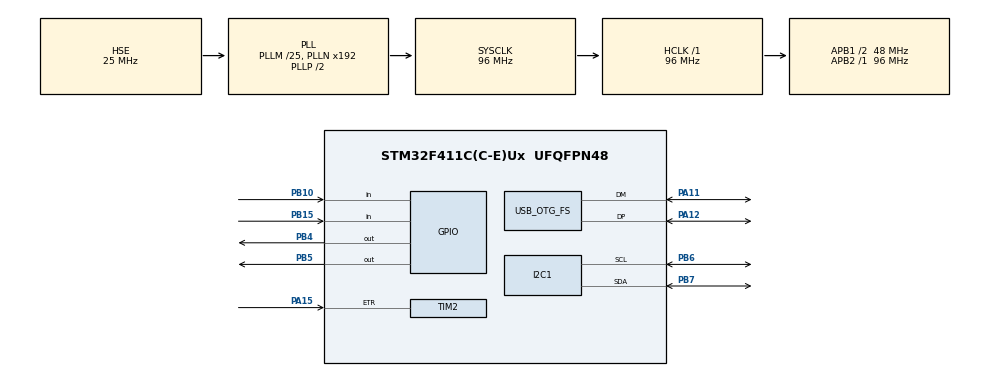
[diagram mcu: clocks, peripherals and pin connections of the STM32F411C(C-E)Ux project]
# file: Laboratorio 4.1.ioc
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I2C1.I2C_Mode=I2C_Fast
Mcu.Family=STM32F4
Mcu.Name=STM32F411C(C-E)Ux
Mcu.Package=UFQFPN48
NVIC.OTG_FS_IRQn=true\:0\:0\:false\:false\:true\:true\:true\:true
NVIC.PriorityGroup=NVIC_PRIORITYGROUP_4
PA11.Mode=Device_Only
PA11.Signal=USB_OTG_FS_DM
PA12.Mode=Device_Only
PA12.Signal=USB_OTG_FS_DP
PA13.Mode=Serial_Wire
PA13.Signal=SYS_JTMS-SWDIO
PA14.Mode=Serial_Wire
PA14.Signal=SYS_JTCK-SWCLK
PA15.Signal=S_TIM2_CH1_ETR
PB10.Signal=GPIO_Input
PB15.Signal=GPIO_Input
PB4.PinState=GPIO_PIN_SET
PB4.Signal=GPIO_Output
PB5.PinState=GPIO_PIN_SET
PB5.Signal=GPIO_Output
PB6.Mode=I2C
PB6.Signal=I2C1_SCL
PB7.Mode=I2C
PB7.Signal=I2C1_SDA
PH0\ -\ OSC_IN.Mode=HSE-External-Oscillator
PH0\ -\ OSC_IN.Signal=RCC_OSC_IN
PH1\ -\ OSC_OUT.Mode=HSE-External-Oscillator
PH1\ -\ OSC_OUT.Signal=RCC_OSC_OUT
ProjectManager.HeapSize=0x200
ProjectManager.StackSize=0x400
ProjectManager.TargetToolchain=STM32CubeIDE
RCC.48MHZClocksFreq_Value=48000000
RCC.AHBFreq_Value=96000000
RCC.APB1CLKDivider=RCC_HCLK_DIV2
RCC.APB1Freq_Value=48000000
RCC.APB1TimFreq_Value=96000000
RCC.APB2Freq_Value=96000000
RCC.APB2TimFreq_Value=96000000
RCC.CortexFreq_Value=96000000
RCC.HCLKFreq_Value=96000000
RCC.HSE_VALUE=25000000
RCC.HSI_VALUE=16000000
RCC.LSE_VALUE=32768
RCC.PLLM=25
RCC.SYSCLKFreq_VALUE=96000000
RCC.SYSCLKSource=RCC_SYSCLKSOURCE_PLLCLK
RCC.VCOOutputFreq_Value=192000000
SH.S_TIM2_CH1_ETR.0=TIM2_ETR,ClockSourceETR_Mode2
TIM2.ClockFilter=10
TIM3.Prescaler=48000-1
TIM5.Prescaler=4800-1
USB_DEVICE.CLASS_NAME_FS=CDC
USB_DEVICE.VirtualMode=Cdc
USB_DEVICE.VirtualModeFS=Cdc_FS
USB_OTG_FS.VirtualMode=Device_Only
VP_TIM3_VS_ClockSourceINT.Mode=Internal
VP_TIM5_VS_ClockSourceINT.Mode=Internal
VP_USB_DEVICE_VS_USB_DEVICE_CDC_FS.Mode=CDC_FS
board=custom

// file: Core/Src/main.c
/* USER CODE BEGIN Header */
/**
  ******************************************************************************
  * @file           : main.c
  * @brief          : Main program body
  ******************************************************************************
  * @attention
  *
  * Copyright (c) 2025 STMicroelectronics.
  * All rights reserved.
  *
  * This software is licensed under terms that can be found in the LICENSE file
  * in the root directory of this software component.
  * If no LICENSE file comes with this software, it is provided AS-IS.
  *
  ******************************************************************************
  */
/* USER CODE END Header */
#include "main.h"
#include "usb_device.h"

/* USER CODE BEGIN PTD */
#include <stdio.h>
#include "ssd1306.h"
#include "ssd1306_tests.h"
#include "ssd1306_fonts.h"
/* USER CODE END PTD */

I2C_HandleTypeDef hi2c1;

TIM_HandleTypeDef htim2;
TIM_HandleTypeDef htim3;
TIM_HandleTypeDef htim5;

void SystemClock_Config(void);
static void MX_GPIO_Init(void);
static void MX_I2C1_Init(void);
static void MX_TIM2_Init(void);
static void MX_TIM3_Init(void);
static void MX_TIM5_Init(void);

/* USER CODE BEGIN 0 */
char buffer[8];
char texto1[64];
char texto2[64];
uint8_t encoder = 0;
uint8_t instruccion = 0;
uint16_t rpm = 0;
uint8_t set= 1;
uint16_t pulsos = 0;
uint32_t contador = -1;
uint8_t ultimo_A = 0;
uint8_t ultimo_B = 0;
uint8_t A_ahora ;
uint8_t B_ahora ;
static uint32_t lastTime = 0;
uint8_t comando =0;
uint8_t lectura = 0;
uint8_t bites = 0;
uint32_t tiempoInicio = 0;
uint16_t binario[13];
uint16_t valorDecimal = 0;

void TransmitirDatos(void)
{
    if (HAL_GetTick() - lastTime >= 200) {
        lastTime = HAL_GetTick();

        sprintf(texto1, "%lu\n", rpm);
        CDC_Transmit_FS(texto1, strlen(texto1));

        sprintf(texto2, "%lu\n", );
                CDC_Transmit_FS(texto1, strlen(texto1));

    }
}

/* USER CODE END 0 */

int main(void)
{

  /* MCU Configuration--------------------------------------------------------*/

  /* Reset of all peripherals, Initializes the Flash interface and the Systick. */
  HAL_Init();

  /* Configure the system clock */
  SystemClock_Config();

  /* Initialize all configured peripherals */
  MX_GPIO_Init();
  MX_I2C1_Init();
  MX_TIM2_Init();
  MX_TIM3_Init();
  MX_USB_DEVICE_Init();
  MX_TIM5_Init();
  /* USER CODE BEGIN 2 */
  HAL_TIM_Base_Start(&htim2);
  HAL_TIM_Base_Start(&htim3);
  HAL_TIM_Base_Start(&htim5);
  ssd1306_Init();
  /* USER CODE END 2 */

  /* Infinite loop */
  /* USER CODE BEGIN WHILE */
  while (1)
  {

	  if(HAL_GPIO_ReadPin(GPIOB, GPIO_PIN_10) == 0){
		  lectura = 0;
	  while (lectura == 0) {

		 while (bites < 13) {
			  while (HAL_GPIO_ReadPin(GPIOB, GPIO_PIN_10) == 1) {
				  __HAL_TIM_SET_COUNTER(&htim5, 0);

			  }

			  while (HAL_GPIO_ReadPin(GPIOB, GPIO_PIN_10) == 0) {
				  // Espera que termine el pulso bajo
				uint8_t entrada = 0;
			  }

			  if (HAL_GPIO_ReadPin(GPIOB, GPIO_PIN_10) == 1) {
				tiempoInicio = __HAL_TIM_GET_COUNTER(&htim5);
				__HAL_TIM_SET_COUNTER(&htim5, 0);
				binario[bites] = tiempoInicio;
				bites +=1;
			  }
		  }

		 for(uint8_t i = 1; i < 8 ; i++){

			 if((binario[i] > 19)){
				 binario[i] = 1;
			 }
			 else{
				 binario[i] = 0;
			 }

			 valorDecimal = (valorDecimal << 1) | binario[i];

		 }

		 instruccion = valorDecimal;
		 comando  = valorDecimal;

		  bites = 0;
		  tiempoInicio = 0;
		  valorDecimal = 0;

		  lectura = 1;

	  }

	  }

	  if(instruccion == 84){
		  HAL_GPIO_WritePin(GPIOB, GPIO_PIN_4, 1);
		  HAL_GPIO_WritePin(GPIOB, GPIO_PIN_5, 0);
		  //instruccion = 0;
	  }
	  if(instruccion == 20){
		  HAL_GPIO_WritePin(GPIOB, GPIO_PIN_4, 0);
		  HAL_GPIO_WritePin(GPIOB, GPIO_PIN_5, 1);
		  //instruccion = 0;

	  }
	  if(instruccion == 54){
		  HAL_GPIO_WritePin(GPIOB, GPIO_PIN_4, 1);
		  HAL_GPIO_WritePin(GPIOB, GPIO_PIN_5, 1);
		  //instruccion = 0;

	  }
	  if(instruccion == 104){
		  encoder = 1;
		  //instruccion = 0;

	  }
	  if(instruccion == 52){
		  encoder = 0;
		  //instruccion = 0;
	  }

	  A_ahora = HAL_GPIO_ReadPin(GPIOA, GPIO_PIN_15);
	  B_ahora = HAL_GPIO_ReadPin(GPIOB, GPIO_PIN_15);

	  if (A_ahora!= ultimo_A) {
		  if (A_ahora == 1) {
			  if (B_ahora == 0) {
				  contador--;
			  } else {
				  contador++;
			  }
		  }
	  }

	  ultimo_A = A_ahora;
	  ultimo_B = B_ahora;

	  if (set == 1){
		  __HAL_TIM_SET_COUNTER(&htim2, 0);
		  __HAL_TIM_SET_COUNTER(&htim3, 0);
		  set =0;
	  }

	  if(__HAL_TIM_GET_COUNTER(&htim3)>=1000){
		 __HAL_TIM_SET_COUNTER(&htim3,0);
		 pulsos = (__HAL_TIM_GET_COUNTER(&htim2))/2;
		 __HAL_TIM_SET_COUNTER(&htim2,0);
		 rpm = pulsos*60;

		 ssd1306_Fill(Black);

		 ssd1306_SetCursor(2, 5);
		 sprintf(buffer, "RPM: %ld", rpm);
		 ssd1306_WriteString(buffer, Font_11x18, White);

		 ssd1306_SetCursor(2, 25);
		 sprintf(buffer, "Cont: %ld", contador);
		 ssd1306_WriteString(buffer, Font_11x18, White);

		 ssd1306_SetCursor(2, 45);
		 sprintf(buffer, "Cmd: #%d", comando);
		 ssd1306_WriteString(buffer, Font_11x18, White);

		 ssd1306_UpdateScreen();
		 }

	  if(encoder == 1){
		  TransmitirDatos();
	  }

    /* USER CODE END WHILE */

  }
}

void SystemClock_Config(void)
{
  RCC_OscInitTypeDef RCC_OscInitStruct = {0};
  RCC_ClkInitTypeDef RCC_ClkInitStruct = {0};

  /** Configure the main internal regulator output voltage
  */
  __HAL_RCC_PWR_CLK_ENABLE();
  __HAL_PWR_VOLTAGESCALING_CONFIG(PWR_REGULATOR_VOLTAGE_SCALE1);

  /** Initializes the RCC Oscillators according to the specified parameters
  * in the RCC_OscInitTypeDef structure.
  */
  RCC_OscInitStruct.OscillatorType = RCC_OSCILLATORTYPE_HSE;
  RCC_OscInitStruct.HSEState = RCC_HSE_ON;
  RCC_OscInitStruct.PLL.PLLState = RCC_PLL_ON;
  RCC_OscInitStruct.PLL.PLLSource = RCC_PLLSOURCE_HSE;
  RCC_OscInitStruct.PLL.PLLM = 25;
  RCC_OscInitStruct.PLL.PLLN = 192;
  RCC_OscInitStruct.PLL.PLLP = RCC_PLLP_DIV2;
  RCC_OscInitStruct.PLL.PLLQ = 4;
  if (HAL_RCC_OscConfig(&RCC_OscInitStruct) != HAL_OK)
  {
    Error_Handler();
  }

  /** Initializes the CPU, AHB and APB buses clocks
  */
  RCC_ClkInitStruct.ClockType = RCC_CLOCKTYPE_HCLK|RCC_CLOCKTYPE_SYSCLK
                              |RCC_CLOCKTYPE_PCLK1|RCC_CLOCKTYPE_PCLK2;
  RCC_ClkInitStruct.SYSCLKSource = RCC_SYSCLKSOURCE_PLLCLK;
  RCC_ClkInitStruct.AHBCLKDivider = RCC_SYSCLK_DIV1;
  RCC_ClkInitStruct.APB1CLKDivider = RCC_HCLK_DIV2;
  RCC_ClkInitStruct.APB2CLKDivider = RCC_HCLK_DIV1;

  if (HAL_RCC_ClockConfig(&RCC_ClkInitStruct, FLASH_LATENCY_3) != HAL_OK)
  {
    Error_Handler();
  }
}

static void MX_I2C1_Init(void)
{

  hi2c1.Instance = I2C1;
  hi2c1.Init.ClockSpeed = 400000;
  hi2c1.Init.DutyCycle = I2C_DUTYCYCLE_2;
  hi2c1.Init.OwnAddress1 = 0;
  hi2c1.Init.AddressingMode = I2C_ADDRESSINGMODE_7BIT;
  hi2c1.Init.DualAddressMode = I2C_DUALADDRESS_DISABLE;
  hi2c1.Init.OwnAddress2 = 0;
  hi2c1.Init.GeneralCallMode = I2C_GENERALCALL_DISABLE;
  hi2c1.Init.NoStretchMode = I2C_NOSTRETCH_DISABLE;
  if (HAL_I2C_Init(&hi2c1) != HAL_OK)
  {
    Error_Handler();
  }

}

static void MX_TIM2_Init(void)
{

  TIM_ClockConfigTypeDef sClockSourceConfig = {0};
  TIM_MasterConfigTypeDef sMasterConfig = {0};

  htim2.Instance = TIM2;
  htim2.Init.Prescaler = 0;
  htim2.Init.CounterMode = TIM_COUNTERMODE_UP;
  htim2.Init.Period = 4294967295;
  htim2.Init.ClockDivision = TIM_CLOCKDIVISION_DIV1;
  htim2.Init.AutoReloadPreload = TIM_AUTORELOAD_PRELOAD_DISABLE;
  if (HAL_TIM_Base_Init(&htim2) != HAL_OK)
  {
    Error_Handler();
  }
  sClockSourceConfig.ClockSource = TIM_CLOCKSOURCE_ETRMODE2;
  sClockSourceConfig.ClockPolarity = TIM_CLOCKPOLARITY_NONINVERTED;
  sClockSourceConfig.ClockPrescaler = TIM_CLOCKPRESCALER_DIV1;
  sClockSourceConfig.ClockFilter = 10;
  if (HAL_TIM_ConfigClockSource(&htim2, &sClockSourceConfig) != HAL_OK)
  {
    Error_Handler();
  }
  sMasterConfig.MasterOutputTrigger = TIM_TRGO_RESET;
  sMasterConfig.MasterSlaveMode = TIM_MASTERSLAVEMODE_DISABLE;
  if (HAL_TIMEx_MasterConfigSynchronization(&htim2, &sMasterConfig) != HAL_OK)
  {
    Error_Handler();
  }

}

static void MX_TIM3_Init(void)
{

  TIM_ClockConfigTypeDef sClockSourceConfig = {0};
  TIM_MasterConfigTypeDef sMasterConfig = {0};

  htim3.Instance = TIM3;
  htim3.Init.Prescaler = 48000-1;
  htim3.Init.CounterMode = TIM_COUNTERMODE_UP;
  htim3.Init.Period = 65535;
  htim3.Init.ClockDivision = TIM_CLOCKDIVISION_DIV1;
  htim3.Init.AutoReloadPreload = TIM_AUTORELOAD_PRELOAD_DISABLE;
  if (HAL_TIM_Base_Init(&htim3) != HAL_OK)
  {
    Error_Handler();
  }
  sClockSourceConfig.ClockSource = TIM_CLOCKSOURCE_INTERNAL;
  if (HAL_TIM_ConfigClockSource(&htim3, &sClockSourceConfig) != HAL_OK)
  {
    Error_Handler();
  }
  sMasterConfig.MasterOutputTrigger = TIM_TRGO_RESET;
  sMasterConfig.MasterSlaveMode = TIM_MASTERSLAVEMODE_DISABLE;
  if (HAL_TIMEx_MasterConfigSynchronization(&htim3, &sMasterConfig) != HAL_OK)
  {
    Error_Handler();
  }

}

static void MX_TIM5_Init(void)
{

  TIM_ClockConfigTypeDef sClockSourceConfig = {0};
  TIM_MasterConfigTypeDef sMasterConfig = {0};

  htim5.Instance = TIM5;
  htim5.Init.Prescaler = 4800-1;
  htim5.Init.CounterMode = TIM_COUNTERMODE_UP;
  htim5.Init.Period = 4294967295;
  htim5.Init.ClockDivision = TIM_CLOCKDIVISION_DIV1;
  htim5.Init.AutoReloadPreload = TIM_AUTORELOAD_PRELOAD_DISABLE;
  if (HAL_TIM_Base_Init(&htim5) != HAL_OK)
  {
    Error_Handler();
  }
  sClockSourceConfig.ClockSource = TIM_CLOCKSOURCE_INTERNAL;
  if (HAL_TIM_ConfigClockSource(&htim5, &sClockSourceConfig) != HAL_OK)
  {
    Error_Handler();
  }
  sMasterConfig.MasterOutputTrigger = TIM_TRGO_RESET;
  sMasterConfig.MasterSlaveMode = TIM_MASTERSLAVEMODE_DISABLE;
  if (HAL_TIMEx_MasterConfigSynchronization(&htim5, &sMasterConfig) != HAL_OK)
  {
    Error_Handler();
  }

}

static void MX_GPIO_Init(void)
{
  GPIO_InitTypeDef GPIO_InitStruct = {0};

  /* GPIO Ports Clock Enable */
  __HAL_RCC_GPIOH_CLK_ENABLE();
  __HAL_RCC_GPIOB_CLK_ENABLE();
  __HAL_RCC_GPIOA_CLK_ENABLE();

  /*Configure GPIO pin Output Level */
  HAL_GPIO_WritePin(GPIOB, GPIO_PIN_4|GPIO_PIN_5, GPIO_PIN_SET);

  /*Configure GPIO pins : PB10 PB15 */
  GPIO_InitStruct.Pin = GPIO_PIN_10|GPIO_PIN_15;
  GPIO_InitStruct.Mode = GPIO_MODE_INPUT;
  GPIO_InitStruct.Pull = GPIO_NOPULL;
  HAL_GPIO_Init(GPIOB, &GPIO_InitStruct);

  /*Configure GPIO pins : PB4 PB5 */
  GPIO_InitStruct.Pin = GPIO_PIN_4|GPIO_PIN_5;
  GPIO_InitStruct.Mode = GPIO_MODE_OUTPUT_PP;
  GPIO_InitStruct.Pull = GPIO_NOPULL;
  GPIO_InitStruct.Speed = GPIO_SPEED_FREQ_LOW;
  HAL_GPIO_Init(GPIOB, &GPIO_InitStruct);

}

void Error_Handler(void)
{
  __disable_irq();
  while (1)
  {
  }
}
